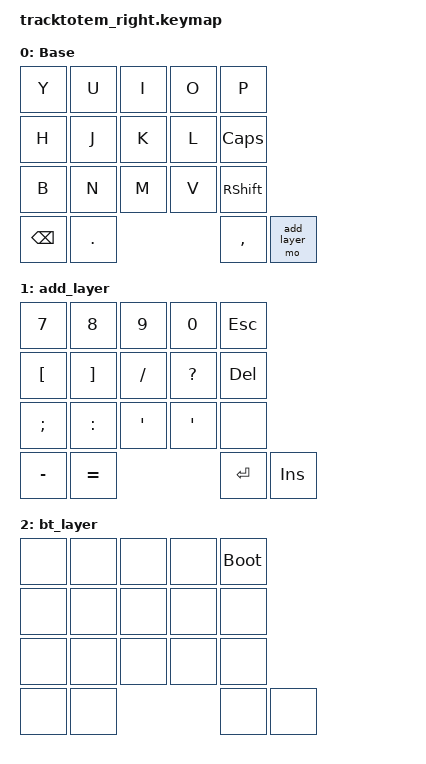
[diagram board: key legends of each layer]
#include <behaviors.dtsi>
#include <dt-bindings/zmk/keys.h>


/ {  
    keymap {
        compatible = "zmk,keymap";

        base_layer {
            display-name = "Base";
            bindings = < 
				&kp Y    &kp U    &kp I    &kp O   &kp P
				&kp H    &kp J    &kp K    &kp L   &kp CAPS
				&kp B    &kp N    &kp M    &kp V   &kp RSHIFT
				&kp BACKSPACE &kp PERIOD   &kp COMMA    &mo add_layer
			>;
        };
		
		add_layer {
			bindings = <
				&kp N7            &kp N8            &kp N9         &kp N0           &kp ESCAPE
				&kp LEFT_BRACKET  &kp RIGHT_BRACKET  &kp SLASH        &kp QUESTION     &kp DELETE
				&kp SEMI          &kp COLON          &kp SINGLE_QUOTE &kp APOSTROPHE   &none
				&kp MINUS         &kp EQUAL          &kp ENTER                         &kp INSERT
			>;
		};
		
		bt_layer {
			bindings = <
				&none            &none            &none            &none            &bootloader
				&none            &none            &none            &none            &none
				&none            &none            &none            &none            &none
				&none                             &none            &none            &none
			>;
		};
    };
 };
